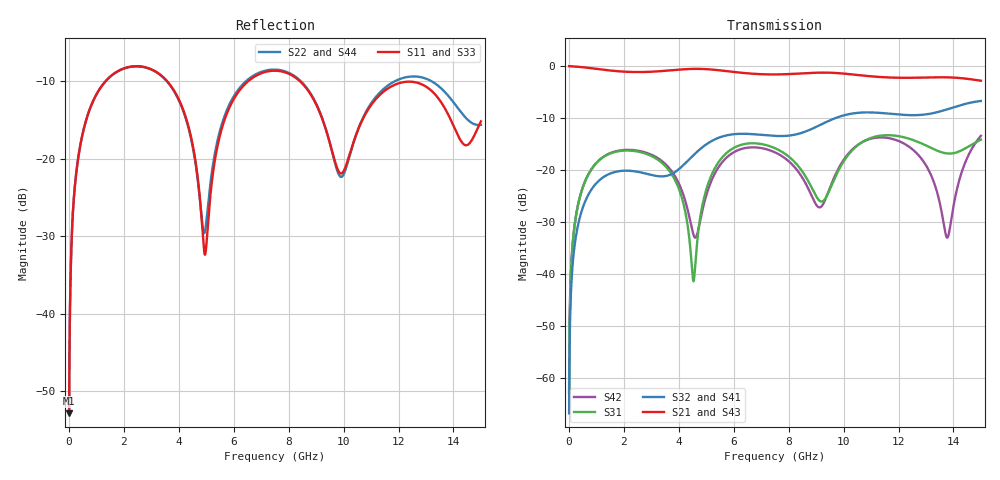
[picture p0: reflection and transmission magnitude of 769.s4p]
! Created with skrf 1.8.0 (http://scikit-rf.org).
# GHz S RI R 50.0
!freq ReS11 ImS11 ReS12 ImS12 ReS13 ImS13
! ReS14 ImS14
! ReS21 ImS21 ReS22 ImS22 ReS23 ImS23
! ReS24 ImS24
! ReS31 ImS31 ReS32 ImS32 ReS33 ImS33
! ReS34 ImS34
! ReS41 ImS41 ReS42 ImS42 ReS43 ImS43
! ReS44 ImS44
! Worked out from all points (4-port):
!   2499 points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, 5 MHz to 15 GHz, reference 50 ohm
!   strongest paths, dB at 5 MHz, 3.476 GHz, 7.19 GHz, 11.1 GHz, 15 GHz:
!     S21: 0.0, -0.9, -1.6, -2.0, -2.8
!     S43: 0.0, -0.9, -1.6, -2.0, -2.8
!     S32: -66.7, -21.2, -13.3, -8.9, -6.7
!     S41: -66.7, -21.2, -13.3, -8.9, -6.7
!     S31: -62.8, -19.1, -15.2, -13.6, -14.1
!     S42: -62.8, -18.7, -16.0, -13.8, -13.4
!   lowest |S11| = -52.8 dB at 5 MHz (marker M1), VSWR 1.00, Z = 50.2 + j0.139 ohm
!   |S11| at or under -10 dB: start of sweep to 1.339 GHz; 3.569 GHz to 6.533 GHz (2.964 GHz wide, 58.7 % of centre); 8.402 GHz to end of sweep
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0.005  0.00182 0.00138  0.9981 -0.00353  9.17e-05 0.000718  -8.91e-05 -0.000451
       0.9981 -0.00353  0.00182 0.00138  -8.91e-05 -0.000451  9.18e-05 0.000718
       9.17e-05 0.000718  -8.91e-05 -0.000451  0.00182 0.00138  0.9981 -0.00353
       -8.91e-05 -0.000451  9.18e-05 0.000718  0.9981 -0.00353  0.00182 0.00138
0.3626511  0.036 0.1022  0.9502 -0.2516  0.017 0.0478  -0.0143 -0.0291
           0.9502 -0.2516  0.0359 0.1022  -0.0143 -0.0291  0.0175 0.0476
           0.017 0.0478  -0.0143 -0.0291  0.036 0.1022  0.9502 -0.2516
           -0.0143 -0.0291  0.0175 0.0476  0.9502 -0.2516  0.0359 0.1022
1.77574  0.3413 0.131  0.3683 -0.8131  0.147 0.0367  -0.0943 0.0237
         0.3683 -0.8131  0.3398 0.1326  -0.0943 0.0237  0.1506 0.0287
         0.147 0.0367  -0.0943 0.0237  0.3413 0.131  0.3683 -0.8132
         -0.0943 0.0237  0.1506 0.0287  0.3683 -0.8132  0.3398 0.1325
4.539391  0.0495 -0.1023  -0.8869 -0.311  0.00843 0.00153  -0.0423 0.1333
          -0.8869 -0.311  0.0562 -0.0949  -0.0415 0.1335  -0.0215 -0.0101
          0.00843 0.00153  -0.0415 0.1335  0.0504 -0.1013  -0.8871 -0.3108
          -0.0423 0.1333  -0.0215 -0.0101  -0.8871 -0.3108  0.0548 -0.0947
7.446853  0.3681 0.0103  -0.0935 0.8258  0.1423 -0.083  0.2103 -0.0367
          -0.0935 0.8258  0.3746 0.000453  0.2102 -0.0381  0.1372 -0.0616
          0.1423 -0.083  0.2102 -0.0381  0.3695 0.00903  -0.0936 0.8252
          0.2103 -0.0367  0.1372 -0.0616  -0.0936 0.8252  0.376 0.00212
10.21676  0.0958 0.0452  0.8352 -0.0486  0.0457 0.1377  -0.0375 -0.3445
          0.8352 -0.0486  0.0923 0.047  -0.0408 -0.3438  0.0406 0.1427
          0.0457 0.1377  -0.0408 -0.3438  0.0982 0.0438  0.8352 -0.0479
          -0.0375 -0.3445  0.0406 0.1427  0.8352 -0.0479  0.0901 0.0474
15  0.154 0.0804  -0.7172 -0.0982  -0.0904 0.1746  -0.051 0.4592
    -0.7172 -0.0982  0.1611 -0.0351  -0.0441 0.4597  0.0904 0.1938
    -0.0904 0.1746  -0.0441 0.4597  0.1601 0.0708  -0.7168 -0.1023
    -0.051 0.4592  0.0904 0.1938  -0.7168 -0.1023  0.1585 -0.041
